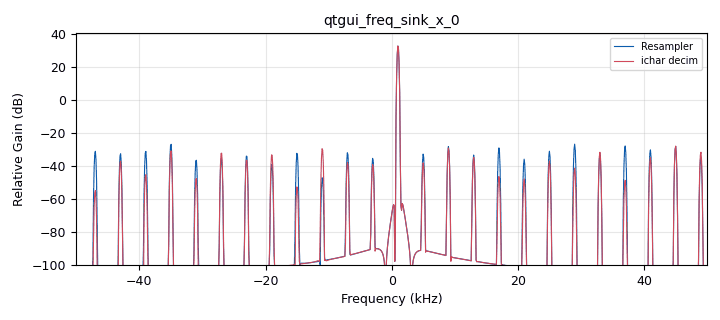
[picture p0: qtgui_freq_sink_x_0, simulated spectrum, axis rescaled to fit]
options:
  parameters:
    generate_options: qt_gui
    id: test_ichar_decim
    output_language: python
    title: IChar Decimator
  states: {}

blocks:
- name: decim
  id: variable
  parameters:
    value: '5'
  states: {}
- name: samp_rate
  id: variable
  parameters:
    value: '500000'
  states: {}
- name: analog_sig_source_x_0
  id: analog_sig_source_x
  parameters:
    amp: '127'
    freq: '1000'
    offset: '0'
    phase: '0'
    samp_rate: samp_rate
    type: complex
    waveform: analog.GR_COS_WAVE
  states: {}
- name: blocks_complex_to_interleaved_char_0
  id: blocks_complex_to_interleaved_char
  parameters:
    scale_factor: '1.0'
    vector_output: 'False'
  states: {}
- name: blocks_complex_to_interleaved_char_0_0
  id: blocks_complex_to_interleaved_char
  parameters:
    scale_factor: '1.0'
    vector_output: 'False'
  states: {}
- name: blocks_interleaved_char_to_complex_0
  id: blocks_interleaved_char_to_complex
  parameters:
    scale_factor: '1.0'
    vector_input: 'False'
  states: {}
- name: blocks_interleaved_char_to_complex_0_0
  id: blocks_interleaved_char_to_complex
  parameters:
    scale_factor: '1.0'
    vector_input: 'False'
  states: {}
- name: blocks_throttle_0
  id: blocks_throttle
  parameters:
    samples_per_second: samp_rate
    type: complex
  states: {}
- name: ival_decimator_0
  id: ival_decimator
  parameters:
    decimation: decim
  states: {}
- name: qtgui_freq_sink_x_0
  id: qtgui_freq_sink_x
  parameters:
    bw: samp_rate/decim
    fc: '0'
    fftsize: '1024'
    label1: Resampler
    label2: ichar decim
    nconnections: '2'
    type: complex
    wintype: fft.window.WIN_BLACKMAN_hARRIS
    ymax: '20'
    ymin: '-120'
  states: {}
- name: rational_resampler_xxx_0
  id: rational_resampler_xxx
  parameters:
    decim: decim
    interp: '1'
    taps: ''
    type: ccc
  states: {}

connections:
- [analog_sig_source_x_0, '0', blocks_throttle_0, '0']
- [blocks_complex_to_interleaved_char_0, '0', ival_decimator_0, '0']
- [blocks_complex_to_interleaved_char_0_0, '0', blocks_interleaved_char_to_complex_0_0, '0']
- [blocks_interleaved_char_to_complex_0, '0', qtgui_freq_sink_x_0, '1']
- [blocks_interleaved_char_to_complex_0_0, '0', qtgui_freq_sink_x_0, '0']
- [blocks_throttle_0, '0', blocks_complex_to_interleaved_char_0, '0']
- [blocks_throttle_0, '0', rational_resampler_xxx_0, '0']
- [ival_decimator_0, '0', blocks_interleaved_char_to_complex_0, '0']
- [rational_resampler_xxx_0, '0', blocks_complex_to_interleaved_char_0_0, '0']

metadata:
  file_format: 1
